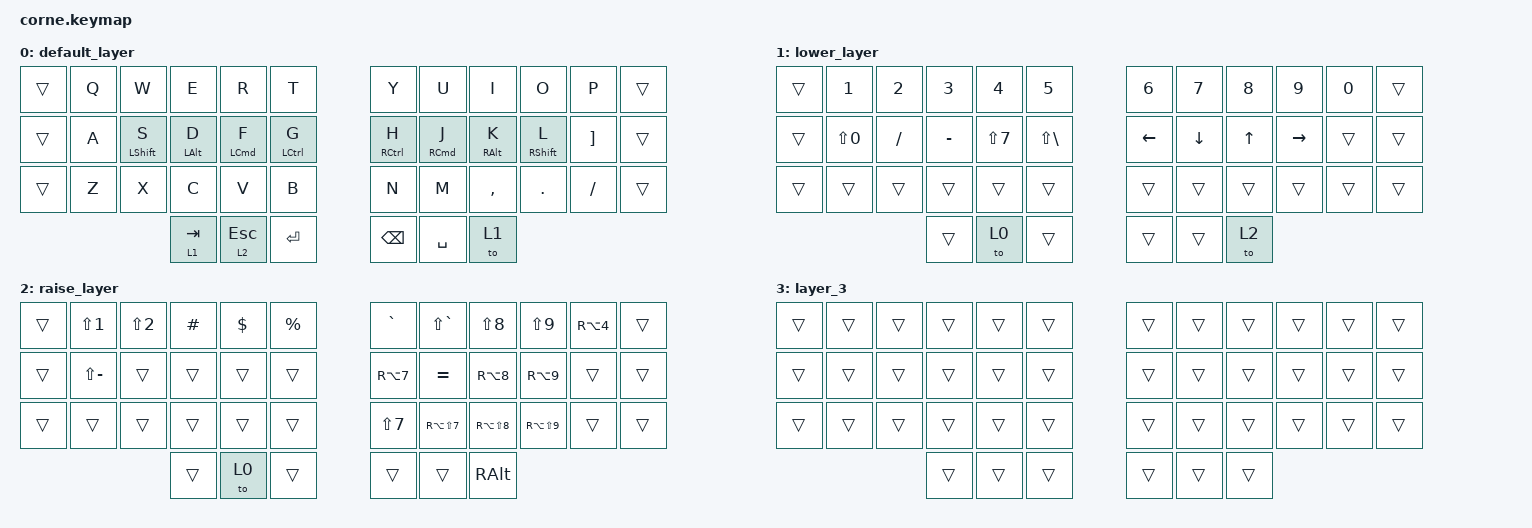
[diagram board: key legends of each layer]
/*
 * Copyright (c) 2020 The ZMK Contributors
 *
 * SPDX-License-Identifier: MIT
 */

#include <behaviors.dtsi>
#include <dt-bindings/zmk/keys.h>

/ {
    keymap {
        compatible = "zmk,keymap";

        default_layer {
            // -----------------------------------------------------------------------------------------
            // |  TAB |  Q  |  W  |  E  |  R  |  T  |   |  Y  |  U   |  I  |  O  |  P  | BKSP |
            // | CTRL |  A  |  S  |  D  |  F  |  G  |   |  H  |  J   |  K  |  L  |  ;  |  '   |
            // | SHFT |  Z  |  X  |  C  |  V  |  B  |   |  N  |  M   |  ,  |  .  |  /  | ESC  |
            //                    | GUI | LWR | SPC |   | ENT | RSE  | ALT |

            bindings = <
&trans  &kp Q  &kp W        &kp E       &kp R       &kp T          &kp Y          &kp U       &kp I       &kp O        &kp P              &trans
&trans  &kp A  &mt LSHFT S  &mt LALT D  &mt LCMD F  &mt LCTRL G    &mt RCTRL H    &mt RCMD J  &mt RALT K  &mt RSHFT L  &kp RIGHT_BRACKET  &trans
&trans  &kp Z  &kp X        &kp C       &kp V       &kp B          &kp N          &kp M       &kp COMMA   &kp DOT      &kp FSLH           &trans
                            &lt 1 TAB   &lt 2 ESC   &kp ENTER      &kp BACKSPACE  &kp SPACE   &to 1
            >;
        };

        lower_layer {
            // -----------------------------------------------------------------------------------------
            // |  TAB |  1  |  2  |  3  |  4  |  5  |   |  6  |  7  |  8  |  9  |  0  | BKSP |
            // | BTCLR| BT1 | BT2 | BT3 | BT4 | BT5 |   | LFT | DWN |  UP | RGT |     |      |
            // | SHFT |     |     |     |     |     |   |     |     |     |     |     |      |
            //                    | GUI |     | SPC |   | ENT |     | ALT |

            bindings = <
&trans  &kp N1            &kp N2     &kp N3     &kp N4            &kp N5          &kp N6    &kp N7    &kp N8  &kp N9     &kp N0  &trans
&trans  &kp LS(NUMBER_0)  &kp SLASH  &kp MINUS  &kp LS(NUMBER_7)  &kp LS(BSLH)    &kp LEFT  &kp DOWN  &kp UP  &kp RIGHT  &trans  &trans
&trans  &trans            &trans     &trans     &trans            &trans          &trans    &trans    &trans  &trans     &trans  &trans
                                     &trans     &to 0             &trans          &trans    &trans    &to 2
            >;
        };

        raise_layer {
            // -----------------------------------------------------------------------------------------
            // |  TAB |  !  |  @  |  #  |  $  |  %  |   |  ^  |  &  |  *  |  (  |  )  | BKSP |
            // | CTRL |     |     |     |     |     |   |  -  |  =  |  [  |  ]  |  \  |  `   |
            // | SHFT |     |     |     |     |     |   |  _  |  +  |  {  |  }  | "|" |  ~   |
            //                    | GUI |     | SPC |   | ENT |     | ALT |

            bindings = <
&trans  &kp LS(NUMBER_1)  &kp LS(NUMBER_2)  &kp HASH  &kp DLLR  &kp PRCNT    &kp GRAVE         &kp LS(GRAVE)         &kp LS(NUMBER_8)      &kp LS(NUMBER_9)      &kp RA(NUMBER_4)  &trans
&trans  &kp LS(MINUS)     &trans            &trans    &trans    &trans       &kp RA(NUMBER_7)  &kp EQUAL             &kp RA(NUMBER_8)      &kp RA(NUMBER_9)      &trans            &trans
&trans  &trans            &trans            &trans    &trans    &trans       &kp LS(NUMBER_7)  &kp RA(LS(NUMBER_7))  &kp RA(LS(NUMBER_8))  &kp RA(LS(NUMBER_9))  &trans            &trans
                                            &trans    &to 0     &trans       &trans            &trans                &kp RALT
            >;
        };

        layer_3 {
            bindings = <
&trans  &trans  &trans  &trans  &trans  &trans    &trans  &trans  &trans  &trans  &trans  &trans
&trans  &trans  &trans  &trans  &trans  &trans    &trans  &trans  &trans  &trans  &trans  &trans
&trans  &trans  &trans  &trans  &trans  &trans    &trans  &trans  &trans  &trans  &trans  &trans
                        &trans  &trans  &trans    &trans  &trans  &trans
            >;
        };
    };
};
